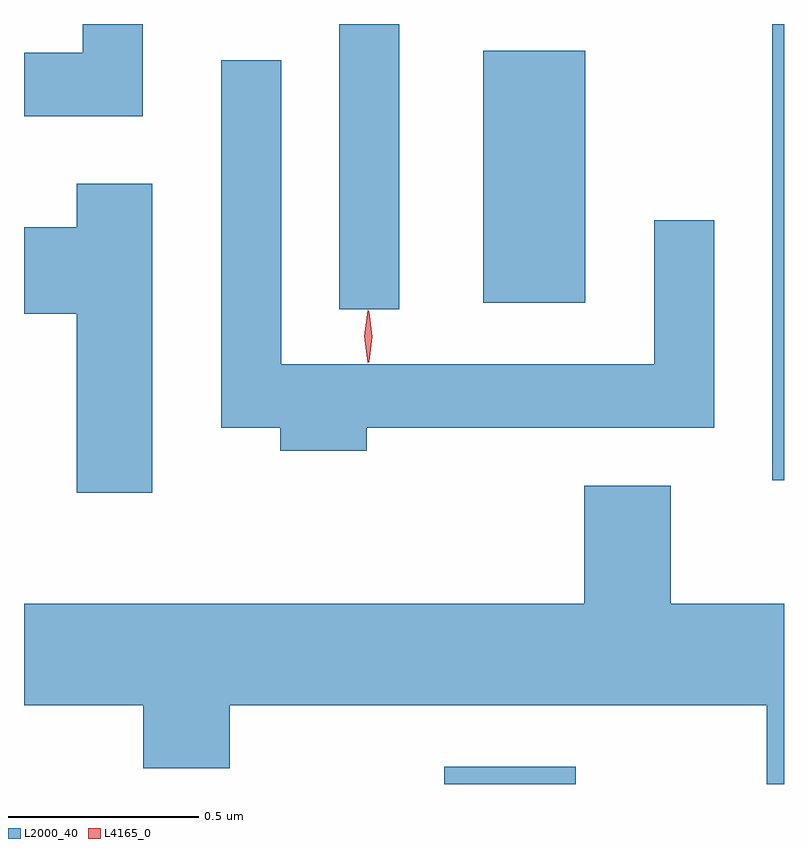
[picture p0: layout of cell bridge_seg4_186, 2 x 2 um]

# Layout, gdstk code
import gdstk
lib = gdstk.Library(unit=1e-6, precision=1e-09)
def R(c, l, rs):  # rectangles x0, y0, x1, y1
    for r in rs: c.add(gdstk.rectangle(r[:2], r[2:], *l))
def P(c, l, *ps):  # polygons
    for p in ps: c.add(gdstk.Polygon(p, *l))
L2000_40 = (2000, 40)
L4165_0 = (4165, 0)

bridge_seg4_186 = lib.new_cell('bridge_seg4_186')
R(bridge_seg4_186, L2000_40, [(1040.623,1312.289,1040.969,1312.334), (1041.486,1313.088,1041.517,1314.289), (1040.346,1313.538,1040.504,1314.289), (1040.726,1313.556,1040.994,1314.219)])
P(bridge_seg4_186, L2000_40, [(1039.829,1314.289),(1039.671,1314.289),(1039.671,1314.214),(1039.517,1314.214),(1039.517,1314.046),(1039.829,1314.046)],
  [(1040.419,1313.226),(1041.334,1313.226),(1041.334,1313.773),(1041.176,1313.773),(1041.176,1313.394),(1040.194,1313.394),(1040.194,1314.193),(1040.036,1314.193),(1040.036,1313.226),(1040.191,1313.226),(1040.191,1313.166),(1040.419,1313.166)],
  [(1039.854,1313.869),(1039.656,1313.869),(1039.656,1313.754),(1039.517,1313.754),(1039.517,1313.526),(1039.656,1313.526),(1039.656,1313.056),(1039.854,1313.056)],
  [(1041.517,1312.764),(1041.219,1312.764),(1041.219,1313.074),(1040.991,1313.074),(1040.991,1312.764),(1039.517,1312.764),(1039.517,1312.496),(1039.831,1312.496),(1039.831,1312.331),(1040.059,1312.331),(1040.059,1312.496),(1041.471,1312.496),(1041.471,1312.289),(1041.517,1312.289)])
P(bridge_seg4_186, L4165_0, [(1040.422,1313.397),(1040.422,1313.398),(1040.412,1313.467),(1040.422,1313.536),(1040.422,1313.536),(1040.423,1313.536),(1040.432,1313.467),(1040.423,1313.398)],
  [(1040.425,1313.399),(1040.424,1313.4),(1040.415,1313.466),(1040.424,1313.532),(1040.424,1313.533),(1040.425,1313.532),(1040.434,1313.466),(1040.425,1313.4)])

lib.write_gds('bridge_seg4_186.gds')
